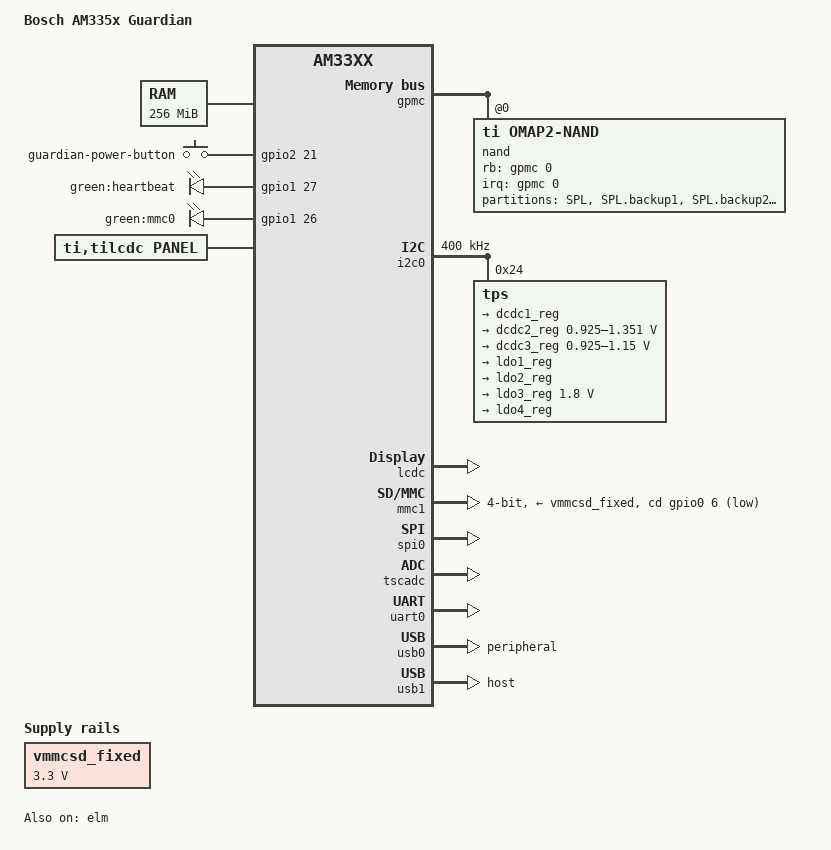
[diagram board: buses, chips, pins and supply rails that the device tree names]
// SPDX-License-Identifier: GPL-2.0
/*
 * Copyright (C) 2012 Texas Instruments Incorporated - http://www.ti.com/
 * Copyright (C) 2018 Robert Bosch Power Tools GmbH
 */
/dts-v1/;

#include "am33xx.dtsi"
#include <dt-bindings/input/input.h>
#include <dt-bindings/interrupt-controller/irq.h>

/ {
	model = "Bosch AM335x Guardian";
	compatible = "bosch,am335x-guardian", "ti,am33xx";

	chosen {
		stdout-path = &uart0;
		tick-timer = &timer2;
	};

	cpus {
		cpu@0 {
			cpu0-supply = <&dcdc2_reg>;
		};
	};

	memory@80000000 {
		device_type = "memory";
		reg = <0x80000000 0x10000000>; /* 256 MB */
	};

	gpio_keys {
		compatible = "gpio-keys";
		#address-cells = <1>;
		#size-cells = <0>;
		pinctrl-names = "default";
		pinctrl-0 = <&gpio_keys_pins>;

		button21 {
			label = "guardian-power-button";
			linux,code = <KEY_POWER>;
			gpios = <&gpio2 21 0>;
			wakeup-source;
		};
	};

	leds {
		compatible = "gpio-leds";
		pinctrl-names = "default";
		pinctrl-0 = <&leds_pins>;

		led1 {
			label = "green:heartbeat";
			gpios = <&gpio1 27 GPIO_ACTIVE_HIGH>;
			linux,default-trigger = "heartbeat";
			default-state = "off";
		};

		led2 {
			label = "green:mmc0";
			gpios = <&gpio1 26 GPIO_ACTIVE_HIGH>;
			linux,default-trigger = "mmc0";
			default-state = "off";
		};
	};

	panel {
		compatible = "ti,tilcdc,panel";
		pinctrl-names = "default", "sleep";
		pinctrl-0 = <&lcd_pins_default &lcd_disen_pins>;
		pinctrl-1 = <&lcd_pins_sleep>;

		display-timings {
			320x240 {
				hactive         = <320>;
				vactive         = <240>;
				hback-porch     = <68>;
				hfront-porch    = <20>;
				hsync-len       = <1>;
				vback-porch     = <18>;
				vfront-porch    = <4>;
				vsync-len       = <1>;
				clock-frequency = <9000000>;
				hsync-active    = <0>;
				vsync-active    = <0>;
			};
		};
		panel-info {
			ac-bias           = <255>;
			ac-bias-intrpt    = <0>;
			dma-burst-sz      = <16>;
			bpp               = <24>;
			bus-width         = <16>;
			fdd               = <0x80>;
			sync-edge         = <0>;
			sync-ctrl         = <1>;
			raster-order      = <0>;
			fifo-th           = <0>;
		};

	};

	pwm7: dmtimer-pwm {
		compatible = "ti,omap-dmtimer-pwm";
		ti,timers = <&timer7>;
		pinctrl-names = "default";
		pinctrl-0 = <&dmtimer7_pins>;
		ti,clock-source = <0x01>;
	};

	vmmcsd_fixed: regulator-3v3 {
		compatible = "regulator-fixed";
		regulator-name = "vmmcsd_fixed";
		regulator-min-microvolt = <3300000>;
		regulator-max-microvolt = <3300000>;
	};
};

&elm {
	status = "okay";
};

&gpmc {
	pinctrl-names = "default";
	pinctrl-0 = <&nandflash_pins>;
	ranges = <0 0 0x08000000 0x1000000>;  /* CS0: 16MB for NAND */
	status = "okay";

	nand@0,0 {
		compatible = "ti,omap2-nand";
		reg = <0 0 4>; /* CS0, offset 0, IO size 4 */
		interrupt-parent = <&gpmc>;
		interrupts = <0 IRQ_TYPE_NONE>, /* fifoevent */
			     <1 IRQ_TYPE_NONE>; /* termcount */
		rb-gpios = <&gpmc 0 GPIO_ACTIVE_HIGH>; /* gpmc_wait0 */
		ti,nand-ecc-opt = "bch16";
		ti,elm-id = <&elm>;
		nand-bus-width = <8>;
		gpmc,device-width = <1>;
		gpmc,sync-clk-ps = <0>;
		gpmc,cs-on-ns = <0>;
		gpmc,cs-rd-off-ns = <44>;
		gpmc,cs-wr-off-ns = <44>;
		gpmc,adv-on-ns = <6>;
		gpmc,adv-rd-off-ns = <34>;
		gpmc,adv-wr-off-ns = <44>;
		gpmc,we-on-ns = <0>;
		gpmc,we-off-ns = <40>;
		gpmc,oe-on-ns = <0>;
		gpmc,oe-off-ns = <54>;
		gpmc,access-ns = <64>;
		gpmc,rd-cycle-ns = <82>;
		gpmc,wr-cycle-ns = <82>;
		gpmc,bus-turnaround-ns = <0>;
		gpmc,cycle2cycle-delay-ns = <0>;
		gpmc,clk-activation-ns = <0>;
		gpmc,wr-access-ns = <40>;
		gpmc,wr-data-mux-bus-ns = <0>;

		/*
		 * MTD partition table
		 *
		 * All SPL-* partitions are sized to minimal length which can
		 * be independently programmable. For NAND flash this is equal
		 * to size of erase-block.
		 */
		#address-cells = <1>;
		#size-cells = <1>;

		partition@0 {
			label = "SPL";
			reg = <0x0 0x40000>;
		};

		partition@1 {
			label = "SPL.backup1";
			reg = <0x40000  0x40000>;
		};

		partition@2 {
			label = "SPL.backup2";
			reg = <0x80000  0x40000>;
		};

		partition@3 {
			label = "SPL.backup3";
			reg = <0xc0000  0x40000>;
		};

		partition@4 {
			label = "u-boot";
			reg = <0x100000 0x100000>;
		};

		partition@5 {
			label = "u-boot.backup1";
			reg = <0x200000 0x100000>;
		};

		partition@6 {
			label = "u-boot-env";
			reg = <0x300000 0x40000>;
		};

		partition@7 {
			label = "u-boot-env.backup1";
			reg = <0x340000 0x40000>;
		};

		partition@8 {
			label = "UBI";
			reg = <0x380000 0x1fc80000>;
		};
	};
};

&i2c0 {
	pinctrl-names = "default";
	pinctrl-0 = <&i2c0_pins>;
	clock-frequency = <400000>;
	status = "okay";

	tps: tps@24 {
		reg = <0x24>;
	};
};

&lcdc {
	blue-and-red-wiring = "crossed";
	status = "okay";
};

&mmc1 {
	bus-width = <0x4>;
	pinctrl-names = "default";
	pinctrl-0 = <&mmc1_pins>;
	cd-gpios = <&gpio0 6 GPIO_ACTIVE_LOW>;
	vmmc-supply = <&vmmcsd_fixed>;
	status = "okay";
};

&rtc {
	clocks = <&clk_32768_ck>, <&clk_24mhz_clkctrl AM3_CLK_24MHZ_CLKDIV32K_CLKCTRL 0>;
	clock-names = "ext-clk", "int-clk";
	system-power-controller;
};

&spi0 {
	ti,pindir-d0-out-d1-in;
	pinctrl-names = "default";
	pinctrl-0 = <&spi0_pins>;
	status = "okay";
};

#include "tps65217.dtsi"

&tps {
	ti,pmic-shutdown-controller;
	interrupt-parent = <&intc>;
	interrupts = <7>; /* NMI */

	backlight {
		isel = <1>;  /* 1 - ISET1, 2 ISET2 */
		fdim = <100>; /* TPS65217_BL_FDIM_100HZ */
		default-brightness = <100>;
	};

	regulators {
		dcdc1_reg: regulator@0 {
			regulator-name = "vdds_dpr";
			regulator-always-on;
		};

		dcdc2_reg: regulator@1 {
			regulator-name = "vdd_mpu";
			regulator-min-microvolt = <925000>;
			regulator-max-microvolt = <1351500>;
			regulator-boot-on;
			regulator-always-on;
		};

		dcdc3_reg: regulator@2 {
			regulator-name = "vdd_core";
			regulator-min-microvolt = <925000>;
			regulator-max-microvolt = <1150000>;
			regulator-boot-on;
			regulator-always-on;
		};

		ldo1_reg: regulator@3 {
			regulator-name = "vio,vrtc,vdds";
			regulator-always-on;
		};

		ldo2_reg: regulator@4 {
			regulator-name = "vdd_3v3aux";
			regulator-always-on;
		};

		ldo3_reg: regulator@5 {
			regulator-name = "vdd_1v8";
			regulator-min-microvolt = <1800000>;
			regulator-max-microvolt = <1800000>;
			regulator-always-on;
		};

		ldo4_reg: regulator@6 {
			regulator-name = "vdd_3v3a";
			regulator-always-on;
		};
	};
};

&tscadc {
	status = "okay";

	adc {
		ti,adc-channels = <0 1 2 3 4 5 6>;
	};
};

&uart0 {
	pinctrl-names = "default";
	pinctrl-0 = <&uart0_pins>;
	status = "okay";
};

&usb0 {
	dr_mode = "peripheral";
};

&usb1 {
	dr_mode = "host";
};

&am33xx_pinmux {
	pinctrl-names = "default";
	pinctrl-0 = <&clkout2_pin &gpio_pins>;

	clkout2_pin: pinmux_clkout2_pin {
		pinctrl-single,pins = <
			AM33XX_IOPAD(0x9b4, PIN_OUTPUT_PULLDOWN | MUX_MODE3)
		>;
	};

	dmtimer7_pins: pinmux_dmtimer7_pins {
		pinctrl-single,pins = <
			AM33XX_IOPAD(0x968, PIN_OUTPUT | MUX_MODE5)
		>;
	};

	gpio_keys_pins: pinmux_gpio_keys_pins {
		pinctrl-single,pins = <
			AM33XX_IOPAD(0x940, PIN_INPUT | MUX_MODE7)
		>;
	};

	gpio_pins: pinmux_gpio_pins {
		pinctrl-single,pins = <
			AM33XX_IOPAD(0x928, PIN_OUTPUT | MUX_MODE7)
			AM33XX_IOPAD(0x990, PIN_OUTPUT | MUX_MODE7)
		>;
	};

	i2c0_pins: pinmux_i2c0_pins {
		pinctrl-single,pins = <
			AM33XX_IOPAD(0x988, PIN_INPUT_PULLUP | MUX_MODE0)
			AM33XX_IOPAD(0x98c, PIN_INPUT_PULLUP | MUX_MODE0)
		>;
	};

	lcd_disen_pins: pinmux_lcd_disen_pins {
		pinctrl-single,pins = <
			AM33XX_IOPAD(0x9a4, PIN_OUTPUT_PULLUP | SLEWCTRL_SLOW | MUX_MODE7)
		>;
	};

	lcd_pins_default: pinmux_lcd_pins_default {
		pinctrl-single,pins = <
			AM33XX_IOPAD(0x820, PIN_OUTPUT | SLEWCTRL_SLOW | MUX_MODE1)
			AM33XX_IOPAD(0x824, PIN_OUTPUT | SLEWCTRL_SLOW | MUX_MODE1)
			AM33XX_IOPAD(0x828, PIN_OUTPUT | SLEWCTRL_SLOW | MUX_MODE1)
			AM33XX_IOPAD(0x82c, PIN_OUTPUT | SLEWCTRL_SLOW | MUX_MODE1)
			AM33XX_IOPAD(0x830, PIN_OUTPUT | SLEWCTRL_SLOW | MUX_MODE1)
			AM33XX_IOPAD(0x834, PIN_OUTPUT | SLEWCTRL_SLOW | MUX_MODE1)
			AM33XX_IOPAD(0x838, PIN_OUTPUT | SLEWCTRL_SLOW | MUX_MODE1)
			AM33XX_IOPAD(0x83c, PIN_OUTPUT | SLEWCTRL_SLOW | MUX_MODE1)
			AM33XX_IOPAD(0x8a0, PIN_OUTPUT | SLEWCTRL_SLOW | MUX_MODE0)
			AM33XX_IOPAD(0x8a4, PIN_OUTPUT | SLEWCTRL_SLOW | MUX_MODE0)
			AM33XX_IOPAD(0x8a8, PIN_OUTPUT | SLEWCTRL_SLOW | MUX_MODE0)
			AM33XX_IOPAD(0x8ac, PIN_OUTPUT | SLEWCTRL_SLOW | MUX_MODE0)
			AM33XX_IOPAD(0x8b0, PIN_OUTPUT | SLEWCTRL_SLOW | MUX_MODE0)
			AM33XX_IOPAD(0x8b4, PIN_OUTPUT | SLEWCTRL_SLOW | MUX_MODE0)
			AM33XX_IOPAD(0x8b8, PIN_OUTPUT | SLEWCTRL_SLOW | MUX_MODE0)
			AM33XX_IOPAD(0x8bc, PIN_OUTPUT | SLEWCTRL_SLOW | MUX_MODE0)
			AM33XX_IOPAD(0x8c0, PIN_OUTPUT | SLEWCTRL_SLOW | MUX_MODE0)
			AM33XX_IOPAD(0x8c4, PIN_OUTPUT | SLEWCTRL_SLOW | MUX_MODE0)
			AM33XX_IOPAD(0x8c8, PIN_OUTPUT | SLEWCTRL_SLOW | MUX_MODE0)
			AM33XX_IOPAD(0x8cc, PIN_OUTPUT | SLEWCTRL_SLOW | MUX_MODE0)
			AM33XX_IOPAD(0x8d0, PIN_OUTPUT | SLEWCTRL_SLOW | MUX_MODE0)
			AM33XX_IOPAD(0x8d4, PIN_OUTPUT | SLEWCTRL_SLOW | MUX_MODE0)
			AM33XX_IOPAD(0x8d8, PIN_OUTPUT | SLEWCTRL_SLOW | MUX_MODE0)
			AM33XX_IOPAD(0x8dc, PIN_OUTPUT | SLEWCTRL_SLOW | MUX_MODE0)
			AM33XX_IOPAD(0x8e0, PIN_OUTPUT | SLEWCTRL_SLOW | MUX_MODE0)
			AM33XX_IOPAD(0x8e4, PIN_OUTPUT | SLEWCTRL_SLOW | MUX_MODE0)
			AM33XX_IOPAD(0x8e8, PIN_OUTPUT | SLEWCTRL_SLOW | MUX_MODE0)
			AM33XX_IOPAD(0x8ec, PIN_OUTPUT | SLEWCTRL_SLOW | MUX_MODE0)
		>;
	};

	lcd_pins_sleep: pinmux_lcd_pins_sleep {
		pinctrl-single,pins = <
			AM33XX_IOPAD(0x8a0, PULL_DISABLE | SLEWCTRL_SLOW | MUX_MODE7)
			AM33XX_IOPAD(0x8a4, PULL_DISABLE | SLEWCTRL_SLOW | MUX_MODE7)
			AM33XX_IOPAD(0x8a8, PULL_DISABLE | SLEWCTRL_SLOW | MUX_MODE7)
			AM33XX_IOPAD(0x8ac, PULL_DISABLE | SLEWCTRL_SLOW | MUX_MODE7)
			AM33XX_IOPAD(0x8b0, PULL_DISABLE | SLEWCTRL_SLOW | MUX_MODE7)
			AM33XX_IOPAD(0x8b4, PULL_DISABLE | SLEWCTRL_SLOW | MUX_MODE7)
			AM33XX_IOPAD(0x8b8, PULL_DISABLE | SLEWCTRL_SLOW | MUX_MODE7)
			AM33XX_IOPAD(0x8bc, PULL_DISABLE | SLEWCTRL_SLOW | MUX_MODE7)
			AM33XX_IOPAD(0x8c0, PULL_DISABLE | SLEWCTRL_SLOW | MUX_MODE7)
			AM33XX_IOPAD(0x8c4, PULL_DISABLE | SLEWCTRL_SLOW | MUX_MODE7)
			AM33XX_IOPAD(0x8c8, PULL_DISABLE | SLEWCTRL_SLOW | MUX_MODE7)
			AM33XX_IOPAD(0x8cc, PULL_DISABLE | SLEWCTRL_SLOW | MUX_MODE7)
			AM33XX_IOPAD(0x8d0, PULL_DISABLE | SLEWCTRL_SLOW | MUX_MODE7)
			AM33XX_IOPAD(0x8d4, PULL_DISABLE | SLEWCTRL_SLOW | MUX_MODE7)
			AM33XX_IOPAD(0x8d8, PULL_DISABLE | SLEWCTRL_SLOW | MUX_MODE7)
			AM33XX_IOPAD(0x8dc, PULL_DISABLE | SLEWCTRL_SLOW | MUX_MODE7)
			AM33XX_IOPAD(0x8e0, PIN_INPUT_PULLDOWN | SLEWCTRL_SLOW | MUX_MODE7)
			AM33XX_IOPAD(0x8e4, PIN_INPUT_PULLDOWN | SLEWCTRL_SLOW | MUX_MODE7)
			AM33XX_IOPAD(0x8e8, PIN_INPUT_PULLDOWN | SLEWCTRL_SLOW | MUX_MODE7)
			AM33XX_IOPAD(0x8ec, PIN_INPUT_PULLDOWN | SLEWCTRL_SLOW | MUX_MODE7)
		>;
	};

	leds_pins: pinmux_leds_pins {
		pinctrl-single,pins = <
			AM33XX_IOPAD(0x868, PIN_OUTPUT | MUX_MODE7)
			AM33XX_IOPAD(0x86c, PIN_OUTPUT | MUX_MODE7)
		>;
	};

	mmc1_pins: pinmux_mmc1_pins {
		pinctrl-single,pins = <
			AM33XX_IOPAD(0x8f0, PIN_INPUT_PULLUP | MUX_MODE0)
			AM33XX_IOPAD(0x8f4, PIN_INPUT_PULLUP | MUX_MODE0)
			AM33XX_IOPAD(0x8f8, PIN_INPUT_PULLUP | MUX_MODE0)
			AM33XX_IOPAD(0x8fc, PIN_INPUT_PULLUP | MUX_MODE0)
			AM33XX_IOPAD(0x900, PIN_INPUT_PULLUP | MUX_MODE0)
			AM33XX_IOPAD(0x904, PIN_INPUT_PULLUP | MUX_MODE0)
			AM33XX_IOPAD(0x960, PIN_INPUT | MUX_MODE7)
		>;
	};

	spi0_pins: pinmux_spi0_pins {
		pinctrl-single,pins = <
			AM33XX_IOPAD(0x950, PIN_OUTPUT_PULLDOWN | MUX_MODE0)
			AM33XX_IOPAD(0x954, PIN_OUTPUT_PULLUP | MUX_MODE0)
			AM33XX_IOPAD(0x958, PIN_INPUT_PULLUP | MUX_MODE0)
			AM33XX_IOPAD(0x95c, PIN_OUTPUT_PULLUP | MUX_MODE0)
		>;
	};

	uart0_pins: pinmux_uart0_pins {
		pinctrl-single,pins = <
			AM33XX_IOPAD(0x970, PIN_INPUT_PULLUP | MUX_MODE0)
			AM33XX_IOPAD(0x974, PIN_OUTPUT_PULLDOWN | MUX_MODE0)
		>;
	};

	nandflash_pins: pinmux_nandflash_pins {
		pinctrl-single,pins = <
			AM33XX_IOPAD(0x800, PIN_INPUT | MUX_MODE0)
			AM33XX_IOPAD(0x804, PIN_INPUT | MUX_MODE0)
			AM33XX_IOPAD(0x808, PIN_INPUT | MUX_MODE0)
			AM33XX_IOPAD(0x80c, PIN_INPUT | MUX_MODE0)
			AM33XX_IOPAD(0x810, PIN_INPUT | MUX_MODE0)
			AM33XX_IOPAD(0x814, PIN_INPUT | MUX_MODE0)
			AM33XX_IOPAD(0x818, PIN_INPUT | MUX_MODE0)
			AM33XX_IOPAD(0x81c, PIN_INPUT | MUX_MODE0)
			AM33XX_IOPAD(0x870, PIN_INPUT | MUX_MODE0)
			AM33XX_IOPAD(0x874, PIN_OUTPUT | MUX_MODE0)
			AM33XX_IOPAD(0x87c, PIN_OUTPUT | MUX_MODE0)
			AM33XX_IOPAD(0x890, PIN_OUTPUT | MUX_MODE0)
			AM33XX_IOPAD(0x894, PIN_OUTPUT | MUX_MODE0)
			AM33XX_IOPAD(0x898, PIN_OUTPUT | MUX_MODE0)
			AM33XX_IOPAD(0x89c, PIN_OUTPUT | MUX_MODE0)
		>;
	};
};
